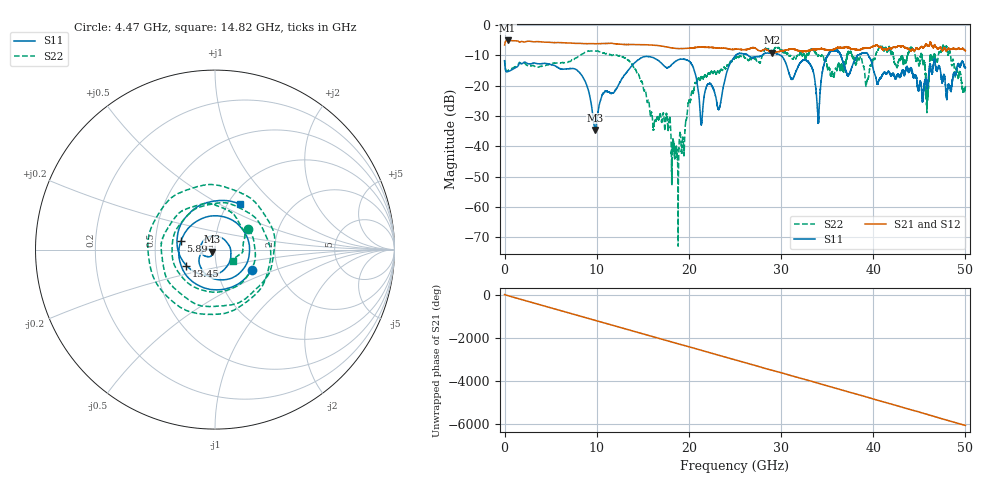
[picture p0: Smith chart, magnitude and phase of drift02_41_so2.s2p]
!Created with skrf (http://scikit-rf.org).
# Hz S RI R 50.0
!freq ReS11 ImS11 ReS21 ImS21 ReS12 ImS12 ReS22 ImS22
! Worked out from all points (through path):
!   10001 points, 300 kHz to 50 GHz, reference 50 ohm
!   highest |S21| = -5.04 dB at 325.3 MHz (marker M1); lowest = -9.0 dB at 29.01 GHz (marker M2)
!   group delay of S21, straight-line fit = 336 ps
!   lowest |S11| = -34.5 dB at 9.84 GHz (marker M3), VSWR 1.04, Z = 48.5 - j1.04 ohm
!   |S11| at or under -10 dB: start of sweep to 25.07 GHz; 29.97 GHz to 35.07 GHz (5.096 GHz wide, 15.7 % of centre); 39.47 GHz to end of sweep (the widest 3 of 9)
!   |S22| runs from -72.9 to -6.5 dB; largest |S21 - S12| = 0.021
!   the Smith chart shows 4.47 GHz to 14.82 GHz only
!   S11 on the Smith chart (normalised r, x): 4.47 GHz: 1.46, -0.35; 5.89 GHz: 0.68, +0.07; 13.45 GHz: 0.71, -0.13; 14.82 GHz: 1.13, +0.63
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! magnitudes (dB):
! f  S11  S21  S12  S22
! 300 kHz  -11.7  -6.5  -6.4  -11.6
! 325.3 MHz  -15.4  -5.0  -5.0  -15.1
! 4.47 GHz  -12.7  -5.6  -5.6  -13.2
! 5.89 GHz  -14.2  -5.7  -5.7  -12.5
! 8.335 GHz  -16.4  -6.0  -6.0  -9.6
! 9.84 GHz  -34.5  -6.1  -6.1  -8.5
! 13.45 GHz  -14.7  -6.4  -6.4  -11.6
! 14.82 GHz  -10.8  -6.4  -6.4  -18.6
! 16.67 GHz  -11.6  -6.7  -6.7  -30.9
! 18.67 GHz  -11.7  -7.7  -7.7  -41.1
! 20.37 GHz  -13.3  -7.5  -7.5  -22.0
! 21.37 GHz  -32.5  -7.3  -7.2  -17.0
! 23.31 GHz  -27.3  -7.5  -7.6  -15.7
! 25 GHz  -10.2  -7.9  -8.0  -11.2
! 29.01 GHz  -9.1  -9.0  -9.0  -8.2
! 33.34 GHz  -14.0  -8.1  -8.1  -8.1
! 34.02 GHz  -32.3  -8.0  -7.9  -10.2
! 35.52 GHz  -8.5  -8.2  -8.1  -15.6
! 41.67 GHz  -15.4  -7.7  -7.8  -7.4
! 45.86 GHz  -20.5  -6.7  -6.8  -21.0
! 47.76 GHz  -17.0  -7.5  -7.5  -7.6
! 50 GHz  -14.1  -8.4  -8.4  -20.1
